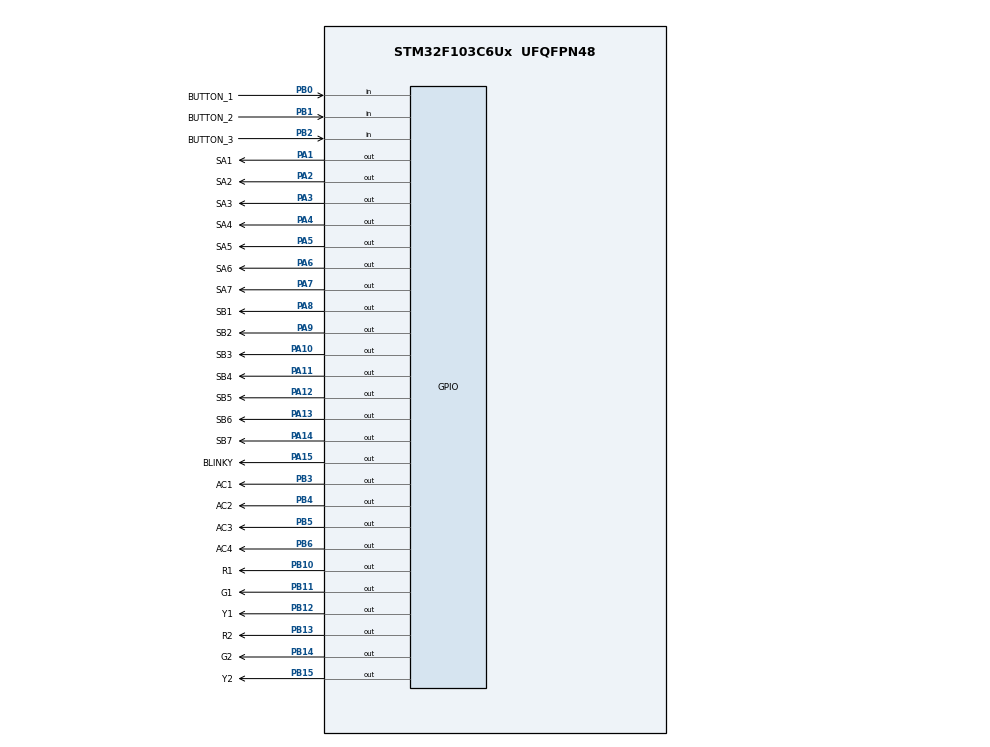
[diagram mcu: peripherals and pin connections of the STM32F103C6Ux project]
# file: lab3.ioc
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Mcu.Family=STM32F1
Mcu.Name=STM32F103C6Ux
Mcu.Package=UFQFPN48
NVIC.PriorityGroup=NVIC_PRIORITYGROUP_4
NVIC.TIM2_IRQn=true\:0\:0\:false\:false\:true\:true\:true
PA1.GPIO_Label=SA1
PA1.Signal=GPIO_Output
PA10.GPIO_Label=SB3
PA10.Signal=GPIO_Output
PA11.GPIO_Label=SB4
PA11.Signal=GPIO_Output
PA12.GPIO_Label=SB5
PA12.Signal=GPIO_Output
PA13.GPIO_Label=SB6
PA13.Signal=GPIO_Output
PA14.GPIO_Label=SB7
PA14.Signal=GPIO_Output
PA15.GPIO_Label=BLINKY
PA15.Signal=GPIO_Output
PA2.GPIO_Label=SA2
PA2.Signal=GPIO_Output
PA3.GPIO_Label=SA3
PA3.Signal=GPIO_Output
PA4.GPIO_Label=SA4
PA4.Signal=GPIO_Output
PA5.GPIO_Label=SA5
PA5.Signal=GPIO_Output
PA6.GPIO_Label=SA6
PA6.Signal=GPIO_Output
PA7.GPIO_Label=SA7
PA7.Signal=GPIO_Output
PA8.GPIO_Label=SB1
PA8.Signal=GPIO_Output
PA9.GPIO_Label=SB2
PA9.Signal=GPIO_Output
PB0.GPIO_Label=BUTTON_1
PB0.Signal=GPIO_Input
PB1.GPIO_Label=BUTTON_2
PB1.Signal=GPIO_Input
PB10.GPIO_Label=R1
PB10.Signal=GPIO_Output
PB11.GPIO_Label=G1
PB11.Signal=GPIO_Output
PB12.GPIO_Label=Y1
PB12.Signal=GPIO_Output
PB13.GPIO_Label=R2
PB13.Signal=GPIO_Output
PB14.GPIO_Label=G2
PB14.Signal=GPIO_Output
PB15.GPIO_Label=Y2
PB15.Signal=GPIO_Output
PB2.GPIO_Label=BUTTON_3
PB2.Signal=GPIO_Input
PB3.GPIO_Label=AC1
PB3.Signal=GPIO_Output
PB4.GPIO_Label=AC2
PB4.Signal=GPIO_Output
PB5.GPIO_Label=AC3
PB5.Signal=GPIO_Output
PB6.GPIO_Label=AC4
PB6.Signal=GPIO_Output
ProjectManager.HeapSize=0x200
ProjectManager.StackSize=0x400
ProjectManager.TargetToolchain=STM32CubeIDE
RCC.APB1Freq_Value=8000000
RCC.APB2Freq_Value=8000000
TIM2.Period=9
TIM2.Prescaler=7999
VP_SYS_VS_ND.Mode=No_Debug
VP_TIM2_VS_ClockSourceINT.Mode=Internal
board=custom

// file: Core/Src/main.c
/* USER CODE BEGIN Header */
/**
  ******************************************************************************
  * @file           : main.c
  * @brief          : Main program body
  ******************************************************************************
  * @attention
  *
  * <h2><center>&copy; Copyright (c) 2025 STMicroelectronics.
  * All rights reserved.</center></h2>
  *
  * This software component is licensed by ST under BSD 3-Clause license,
  * the "License"; You may not use this file except in compliance with the
  * License. You may obtain a copy of the License at:
  *                        opensource.org/licenses/BSD-3-Clause
  *
  ******************************************************************************
  */
/* USER CODE END Header */
#include "main.h"

/* USER CODE BEGIN Includes */
#include "scheduler.h"
#include "input_reading.h"
#include "input_processing.h"
/* USER CODE END Includes */

TIM_HandleTypeDef htim2;

/* USER CODE BEGIN PV */
int mode = 4;
int greenTime = 3;
int yellowTime = 2;
int redTime = 5;

int cooldown1;
int cooldown2;
int greenTemp;
int yellowTemp;
int redTemp;
int temp1;
int temp2;

int ledIndex = 0;
int timeSEG1[2] = {0, 0};
int timeSEG2[2] = {0, 0};
int toogleCount = 12;
/* USER CODE END PV */

void SystemClock_Config(void);
static void MX_GPIO_Init(void);
static void MX_TIM2_Init(void);
/* USER CODE BEGIN PFP */
void displayWhichSEG1(int index)
{
	switch (index)
	{
	case 0:
		HAL_GPIO_WritePin(GPIOB, GPIO_PIN_3, GPIO_PIN_RESET);
		HAL_GPIO_WritePin(GPIOB, GPIO_PIN_4, GPIO_PIN_SET);
		break;
	case 1:
		HAL_GPIO_WritePin(GPIOB, GPIO_PIN_3, GPIO_PIN_SET);
		HAL_GPIO_WritePin(GPIOB, GPIO_PIN_4, GPIO_PIN_RESET);
		break;
	default:
		break;
	}
}

void displayWhichSEG2(int index)
{
	switch (index)
	{
	case 0:
		HAL_GPIO_WritePin(GPIOB, GPIO_PIN_5, GPIO_PIN_RESET);
		HAL_GPIO_WritePin(GPIOB, GPIO_PIN_6, GPIO_PIN_SET);
		break;
	case 1:
		HAL_GPIO_WritePin(GPIOB, GPIO_PIN_5, GPIO_PIN_SET);
		HAL_GPIO_WritePin(GPIOB, GPIO_PIN_6, GPIO_PIN_RESET);
		break;
	default:
		break;
	}
}

void offLED()
{
    HAL_GPIO_WritePin(GPIOB, GPIO_PIN_10, GPIO_PIN_SET);
    HAL_GPIO_WritePin(GPIOB, GPIO_PIN_11, GPIO_PIN_SET);
    HAL_GPIO_WritePin(GPIOB, GPIO_PIN_12, GPIO_PIN_SET);
    HAL_GPIO_WritePin(GPIOB, GPIO_PIN_13, GPIO_PIN_SET);
    HAL_GPIO_WritePin(GPIOB, GPIO_PIN_14, GPIO_PIN_SET);
    HAL_GPIO_WritePin(GPIOB, GPIO_PIN_15, GPIO_PIN_SET);
}

void displayWhatSEG1(int time)
{
	timeSEG1[0] = time / 10;
	timeSEG1[1] = time % 10;
}

void displayWhatSEG2(int time)
{
	timeSEG2[0] = time / 10;
	timeSEG2[1] = time % 10;
}

void displaySEG1(int num)
{
    if (num == 1)
    {
        HAL_GPIO_WritePin(SA1_GPIO_Port, SA1_Pin, GPIO_PIN_SET);
        HAL_GPIO_WritePin(SA2_GPIO_Port, SA2_Pin, GPIO_PIN_RESET);
        HAL_GPIO_WritePin(SA3_GPIO_Port, SA3_Pin, GPIO_PIN_RESET);
        HAL_GPIO_WritePin(SA4_GPIO_Port, SA4_Pin, GPIO_PIN_SET);
        HAL_GPIO_WritePin(SA5_GPIO_Port, SA5_Pin, GPIO_PIN_SET);
        HAL_GPIO_WritePin(SA6_GPIO_Port, SA6_Pin, GPIO_PIN_SET);
        HAL_GPIO_WritePin(SA7_GPIO_Port, SA7_Pin, GPIO_PIN_SET);
        return;
    }
    if (num == 2)
    {
        HAL_GPIO_WritePin(SA1_GPIO_Port, SA1_Pin, GPIO_PIN_RESET);
        HAL_GPIO_WritePin(SA2_GPIO_Port, SA2_Pin, GPIO_PIN_RESET);
        HAL_GPIO_WritePin(SA3_GPIO_Port, SA3_Pin, GPIO_PIN_SET);
        HAL_GPIO_WritePin(SA4_GPIO_Port, SA4_Pin, GPIO_PIN_RESET);
        HAL_GPIO_WritePin(SA5_GPIO_Port, SA5_Pin, GPIO_PIN_RESET);
        HAL_GPIO_WritePin(SA6_GPIO_Port, SA6_Pin, GPIO_PIN_SET);
        HAL_GPIO_WritePin(SA7_GPIO_Port, SA7_Pin, GPIO_PIN_RESET);
        return;
    }
    if (num == 3)
    {
        HAL_GPIO_WritePin(SA1_GPIO_Port, SA1_Pin, GPIO_PIN_RESET);
        HAL_GPIO_WritePin(SA2_GPIO_Port, SA2_Pin, GPIO_PIN_RESET);
        HAL_GPIO_WritePin(SA3_GPIO_Port, SA3_Pin, GPIO_PIN_RESET);
        HAL_GPIO_WritePin(SA4_GPIO_Port, SA4_Pin, GPIO_PIN_RESET);
        HAL_GPIO_WritePin(SA5_GPIO_Port, SA5_Pin, GPIO_PIN_SET);
        HAL_GPIO_WritePin(SA6_GPIO_Port, SA6_Pin, GPIO_PIN_SET);
        HAL_GPIO_WritePin(SA7_GPIO_Port, SA7_Pin, GPIO_PIN_RESET);
        return;
    }
    if (num == 0)
    {
        HAL_GPIO_WritePin(SA1_GPIO_Port, SA1_Pin, GPIO_PIN_RESET);
        HAL_GPIO_WritePin(SA2_GPIO_Port, SA2_Pin, GPIO_PIN_RESET);
        HAL_GPIO_WritePin(SA3_GPIO_Port, SA3_Pin, GPIO_PIN_RESET);
        HAL_GPIO_WritePin(SA4_GPIO_Port, SA4_Pin, GPIO_PIN_RESET);
        HAL_GPIO_WritePin(SA5_GPIO_Port, SA5_Pin, GPIO_PIN_RESET);
        HAL_GPIO_WritePin(SA6_GPIO_Port, SA6_Pin, GPIO_PIN_RESET);
        HAL_GPIO_WritePin(SA7_GPIO_Port, SA7_Pin, GPIO_PIN_SET);
        return;
    }
    if (num == 4)
    {
        HAL_GPIO_WritePin(SA1_GPIO_Port, SA1_Pin, GPIO_PIN_SET);
        HAL_GPIO_WritePin(SA2_GPIO_Port, SA2_Pin, GPIO_PIN_RESET);
        HAL_GPIO_WritePin(SA3_GPIO_Port, SA3_Pin, GPIO_PIN_RESET);
        HAL_GPIO_WritePin(SA4_GPIO_Port, SA4_Pin, GPIO_PIN_SET);
        HAL_GPIO_WritePin(SA5_GPIO_Port, SA5_Pin, GPIO_PIN_SET);
        HAL_GPIO_WritePin(SA6_GPIO_Port, SA6_Pin, GPIO_PIN_RESET);
        HAL_GPIO_WritePin(SA7_GPIO_Port, SA7_Pin, GPIO_PIN_RESET);
        return;
    }
    if (num == 5)
    {
        HAL_GPIO_WritePin(SA1_GPIO_Port, SA1_Pin, GPIO_PIN_RESET);
        HAL_GPIO_WritePin(SA2_GPIO_Port, SA2_Pin, GPIO_PIN_SET);
        HAL_GPIO_WritePin(SA3_GPIO_Port, SA3_Pin, GPIO_PIN_RESET);
        HAL_GPIO_WritePin(SA4_GPIO_Port, SA4_Pin, GPIO_PIN_RESET);
        HAL_GPIO_WritePin(SA5_GPIO_Port, SA5_Pin, GPIO_PIN_SET);
        HAL_GPIO_WritePin(SA6_GPIO_Port, SA6_Pin, GPIO_PIN_RESET);
        HAL_GPIO_WritePin(SA7_GPIO_Port, SA7_Pin, GPIO_PIN_RESET);
        return;
    }
    if (num == 6)
    {
        HAL_GPIO_WritePin(SA1_GPIO_Port, SA1_Pin, GPIO_PIN_RESET);
        HAL_GPIO_WritePin(SA2_GPIO_Port, SA2_Pin, GPIO_PIN_SET);
        HAL_GPIO_WritePin(SA3_GPIO_Port, SA3_Pin, GPIO_PIN_RESET);
        HAL_GPIO_WritePin(SA4_GPIO_Port, SA4_Pin, GPIO_PIN_RESET);
        HAL_GPIO_WritePin(SA5_GPIO_Port, SA5_Pin, GPIO_PIN_RESET);
        HAL_GPIO_WritePin(SA6_GPIO_Port, SA6_Pin, GPIO_PIN_RESET);
        HAL_GPIO_WritePin(SA7_GPIO_Port, SA7_Pin, GPIO_PIN_RESET);
        return;
    }
    if (num == 7)
    {
        HAL_GPIO_WritePin(SA1_GPIO_Port, SA1_Pin, GPIO_PIN_RESET);
        HAL_GPIO_WritePin(SA2_GPIO_Port, SA2_Pin, GPIO_PIN_RESET);
        HAL_GPIO_WritePin(SA3_GPIO_Port, SA3_Pin, GPIO_PIN_RESET);
        HAL_GPIO_WritePin(SA4_GPIO_Port, SA4_Pin, GPIO_PIN_SET);
        HAL_GPIO_WritePin(SA5_GPIO_Port, SA5_Pin, GPIO_PIN_SET);
        HAL_GPIO_WritePin(SA6_GPIO_Port, SA6_Pin, GPIO_PIN_SET);
        HAL_GPIO_WritePin(SA7_GPIO_Port, SA7_Pin, GPIO_PIN_SET);
        return;
    }
    if (num == 8)
    {
        HAL_GPIO_WritePin(SA1_GPIO_Port, SA1_Pin, GPIO_PIN_RESET);
        HAL_GPIO_WritePin(SA2_GPIO_Port, SA2_Pin, GPIO_PIN_RESET);
        HAL_GPIO_WritePin(SA3_GPIO_Port, SA3_Pin, GPIO_PIN_RESET);
        HAL_GPIO_WritePin(SA4_GPIO_Port, SA4_Pin, GPIO_PIN_RESET);
        HAL_GPIO_WritePin(SA5_GPIO_Port, SA5_Pin, GPIO_PIN_RESET);
        HAL_GPIO_WritePin(SA6_GPIO_Port, SA6_Pin, GPIO_PIN_RESET);
        HAL_GPIO_WritePin(SA7_GPIO_Port, SA7_Pin, GPIO_PIN_RESET);
        return;
    }
    if (num == 9)
    {
        HAL_GPIO_WritePin(SA1_GPIO_Port, SA1_Pin, GPIO_PIN_RESET);
        HAL_GPIO_WritePin(SA2_GPIO_Port, SA2_Pin, GPIO_PIN_RESET);
        HAL_GPIO_WritePin(SA3_GPIO_Port, SA3_Pin, GPIO_PIN_RESET);
        HAL_GPIO_WritePin(SA4_GPIO_Port, SA4_Pin, GPIO_PIN_RESET);
        HAL_GPIO_WritePin(SA5_GPIO_Port, SA5_Pin, GPIO_PIN_SET);
        HAL_GPIO_WritePin(SA6_GPIO_Port, SA6_Pin, GPIO_PIN_RESET);
        HAL_GPIO_WritePin(SA7_GPIO_Port, SA7_Pin, GPIO_PIN_RESET);
        return;
    }
    if (num == 10)
    {
        HAL_GPIO_WritePin(SB1_GPIO_Port, SB1_Pin, GPIO_PIN_SET);
        HAL_GPIO_WritePin(SB2_GPIO_Port, SB2_Pin, GPIO_PIN_SET);
        HAL_GPIO_WritePin(SB3_GPIO_Port, SB3_Pin, GPIO_PIN_SET);
        HAL_GPIO_WritePin(SB4_GPIO_Port, SB4_Pin, GPIO_PIN_SET);
        HAL_GPIO_WritePin(SB5_GPIO_Port, SB5_Pin, GPIO_PIN_SET);
        HAL_GPIO_WritePin(SB6_GPIO_Port, SB6_Pin, GPIO_PIN_SET);
        HAL_GPIO_WritePin(SB7_GPIO_Port, SB7_Pin, GPIO_PIN_SET);
        return;
    }
}

void displaySEG2(int num)
{
    if (num == 1)
    {
        HAL_GPIO_WritePin(SB1_GPIO_Port, SB1_Pin, GPIO_PIN_SET);
        HAL_GPIO_WritePin(SB2_GPIO_Port, SB2_Pin, GPIO_PIN_RESET);
        HAL_GPIO_WritePin(SB3_GPIO_Port, SB3_Pin, GPIO_PIN_RESET);
        HAL_GPIO_WritePin(SB4_GPIO_Port, SB4_Pin, GPIO_PIN_SET);
        HAL_GPIO_WritePin(SB5_GPIO_Port, SB5_Pin, GPIO_PIN_SET);
        HAL_GPIO_WritePin(SB6_GPIO_Port, SB6_Pin, GPIO_PIN_SET);
        HAL_GPIO_WritePin(SB7_GPIO_Port, SB7_Pin, GPIO_PIN_SET);
        return;
    }
    if (num == 2)
    {
        HAL_GPIO_WritePin(SB1_GPIO_Port, SB1_Pin, GPIO_PIN_RESET);
        HAL_GPIO_WritePin(SB2_GPIO_Port, SB2_Pin, GPIO_PIN_RESET);
        HAL_GPIO_WritePin(SB3_GPIO_Port, SB3_Pin, GPIO_PIN_SET);
        HAL_GPIO_WritePin(SB4_GPIO_Port, SB4_Pin, GPIO_PIN_RESET);
        HAL_GPIO_WritePin(SB5_GPIO_Port, SB5_Pin, GPIO_PIN_RESET);
        HAL_GPIO_WritePin(SB6_GPIO_Port, SB6_Pin, GPIO_PIN_SET);
        HAL_GPIO_WritePin(SB7_GPIO_Port, SB7_Pin, GPIO_PIN_RESET);
        return;
    }
    if (num == 3)
    {
        HAL_GPIO_WritePin(SB1_GPIO_Port, SB1_Pin, GPIO_PIN_RESET);
        HAL_GPIO_WritePin(SB2_GPIO_Port, SB2_Pin, GPIO_PIN_RESET);
        HAL_GPIO_WritePin(SB3_GPIO_Port, SB3_Pin, GPIO_PIN_RESET);
        HAL_GPIO_WritePin(SB4_GPIO_Port, SB4_Pin, GPIO_PIN_RESET);
        HAL_GPIO_WritePin(SB5_GPIO_Port, SB5_Pin, GPIO_PIN_SET);
        HAL_GPIO_WritePin(SB6_GPIO_Port, SB6_Pin, GPIO_PIN_SET);
        HAL_GPIO_WritePin(SB7_GPIO_Port, SB7_Pin, GPIO_PIN_RESET);
        return;
    }
    if (num == 0)
    {
        HAL_GPIO_WritePin(SB1_GPIO_Port, SB1_Pin, GPIO_PIN_RESET);
        HAL_GPIO_WritePin(SB2_GPIO_Port, SB2_Pin, GPIO_PIN_RESET);
        HAL_GPIO_WritePin(SB3_GPIO_Port, SB3_Pin, GPIO_PIN_RESET);
        HAL_GPIO_WritePin(SB4_GPIO_Port, SB4_Pin, GPIO_PIN_RESET);
        HAL_GPIO_WritePin(SB5_GPIO_Port, SB5_Pin, GPIO_PIN_RESET);
        HAL_GPIO_WritePin(SB6_GPIO_Port, SB6_Pin, GPIO_PIN_RESET);
        HAL_GPIO_WritePin(SB7_GPIO_Port, SB7_Pin, GPIO_PIN_SET);
        return;
    }
    if (num == 4)
    {
        HAL_GPIO_WritePin(SB1_GPIO_Port, SB1_Pin, GPIO_PIN_SET);
        HAL_GPIO_WritePin(SB2_GPIO_Port, SB2_Pin, GPIO_PIN_RESET);
        HAL_GPIO_WritePin(SB3_GPIO_Port, SB3_Pin, GPIO_PIN_RESET);
        HAL_GPIO_WritePin(SB4_GPIO_Port, SB4_Pin, GPIO_PIN_SET);
        HAL_GPIO_WritePin(SB5_GPIO_Port, SB5_Pin, GPIO_PIN_SET);
        HAL_GPIO_WritePin(SB6_GPIO_Port, SB6_Pin, GPIO_PIN_RESET);
        HAL_GPIO_WritePin(SB7_GPIO_Port, SB7_Pin, GPIO_PIN_RESET);
        return;
    }
    if (num == 5)
    {
        HAL_GPIO_WritePin(SB1_GPIO_Port, SB1_Pin, GPIO_PIN_RESET);
        HAL_GPIO_WritePin(SB2_GPIO_Port, SB2_Pin, GPIO_PIN_SET);
        HAL_GPIO_WritePin(SB3_GPIO_Port, SB3_Pin, GPIO_PIN_RESET);
        HAL_GPIO_WritePin(SB4_GPIO_Port, SB4_Pin, GPIO_PIN_RESET);
        HAL_GPIO_WritePin(SB5_GPIO_Port, SB5_Pin, GPIO_PIN_SET);
        HAL_GPIO_WritePin(SB6_GPIO_Port, SB6_Pin, GPIO_PIN_RESET);
        HAL_GPIO_WritePin(SB7_GPIO_Port, SB7_Pin, GPIO_PIN_RESET);
        return;
    }
    if (num == 6)
    {
        HAL_GPIO_WritePin(SB1_GPIO_Port, SB1_Pin, GPIO_PIN_RESET);
        HAL_GPIO_WritePin(SB2_GPIO_Port, SB2_Pin, GPIO_PIN_SET);
        HAL_GPIO_WritePin(SB3_GPIO_Port, SB3_Pin, GPIO_PIN_RESET);
        HAL_GPIO_WritePin(SB4_GPIO_Port, SB4_Pin, GPIO_PIN_RESET);
        HAL_GPIO_WritePin(SB5_GPIO_Port, SB5_Pin, GPIO_PIN_RESET);
        HAL_GPIO_WritePin(SB6_GPIO_Port, SB6_Pin, GPIO_PIN_RESET);
        HAL_GPIO_WritePin(SB7_GPIO_Port, SB7_Pin, GPIO_PIN_RESET);
        return;
    }
    if (num == 7)
    {
        HAL_GPIO_WritePin(SB1_GPIO_Port, SB1_Pin, GPIO_PIN_RESET);
        HAL_GPIO_WritePin(SB2_GPIO_Port, SB2_Pin, GPIO_PIN_RESET);
        HAL_GPIO_WritePin(SB3_GPIO_Port, SB3_Pin, GPIO_PIN_RESET);
        HAL_GPIO_WritePin(SB4_GPIO_Port, SB4_Pin, GPIO_PIN_SET);
        HAL_GPIO_WritePin(SB5_GPIO_Port, SB5_Pin, GPIO_PIN_SET);
        HAL_GPIO_WritePin(SB6_GPIO_Port, SB6_Pin, GPIO_PIN_SET);
        HAL_GPIO_WritePin(SB7_GPIO_Port, SB7_Pin, GPIO_PIN_SET);
        return;
    }
    if (num == 8)
    {
        HAL_GPIO_WritePin(SB1_GPIO_Port, SB1_Pin, GPIO_PIN_RESET);
        HAL_GPIO_WritePin(SB2_GPIO_Port, SB2_Pin, GPIO_PIN_RESET);
        HAL_GPIO_WritePin(SB3_GPIO_Port, SB3_Pin, GPIO_PIN_RESET);
        HAL_GPIO_WritePin(SB4_GPIO_Port, SB4_Pin, GPIO_PIN_RESET);
        HAL_GPIO_WritePin(SB5_GPIO_Port, SB5_Pin, GPIO_PIN_RESET);
        HAL_GPIO_WritePin(SB6_GPIO_Port, SB6_Pin, GPIO_PIN_RESET);
        HAL_GPIO_WritePin(SB7_GPIO_Port, SB7_Pin, GPIO_PIN_RESET);
        return;
    }
    if (num == 9)
    {
        HAL_GPIO_WritePin(SB1_GPIO_Port, SB1_Pin, GPIO_PIN_RESET);
        HAL_GPIO_WritePin(SB2_GPIO_Port, SB2_Pin, GPIO_PIN_RESET);
        HAL_GPIO_WritePin(SB3_GPIO_Port, SB3_Pin, GPIO_PIN_RESET);
        HAL_GPIO_WritePin(SB4_GPIO_Port, SB4_Pin, GPIO_PIN_RESET);
        HAL_GPIO_WritePin(SB5_GPIO_Port, SB5_Pin, GPIO_PIN_SET);
        HAL_GPIO_WritePin(SB6_GPIO_Port, SB6_Pin, GPIO_PIN_RESET);
        HAL_GPIO_WritePin(SB7_GPIO_Port, SB7_Pin, GPIO_PIN_RESET);
        return;
    }
    if (num == 10)
    {
        HAL_GPIO_WritePin(SB1_GPIO_Port, SB1_Pin, GPIO_PIN_SET);
        HAL_GPIO_WritePin(SB2_GPIO_Port, SB2_Pin, GPIO_PIN_SET);
        HAL_GPIO_WritePin(SB3_GPIO_Port, SB3_Pin, GPIO_PIN_SET);
        HAL_GPIO_WritePin(SB4_GPIO_Port, SB4_Pin, GPIO_PIN_SET);
        HAL_GPIO_WritePin(SB5_GPIO_Port, SB5_Pin, GPIO_PIN_SET);
        HAL_GPIO_WritePin(SB6_GPIO_Port, SB6_Pin, GPIO_PIN_SET);
        HAL_GPIO_WritePin(SB7_GPIO_Port, SB7_Pin, GPIO_PIN_SET);
        return;
    }
}

void Task_Input_Handler(void)
{
	button_reading();
	fsm_for_input_processing();
}

/* USER CODE END PFP */

int main(void)
{

  /* MCU Configuration--------------------------------------------------------*/

  /* Reset of all peripherals, Initializes the Flash interface and the Systick. */
  HAL_Init();

  /* Configure the system clock */
  SystemClock_Config();

  /* Initialize all configured peripherals */
  MX_GPIO_Init();
  MX_TIM2_Init();
  /* USER CODE BEGIN 2 */
  SCH_Init();

  SCH_Add_Task(Task_Input_Handler, 1, 1);
  SCH_Add_Task(fsm_for_1s_logic, 100, 100);
  SCH_Add_Task(fsm_for_display_logic, 4, 4);

  HAL_TIM_Base_Start_IT (& htim2 );

  cooldown1 = greenTime + yellowTime + redTime;
  cooldown2 = cooldown1;

  greenTemp = greenTime;
  redTemp = redTime;
  yellowTemp = yellowTime;

  temp1 = greenTime - 1;
  temp2 = redTime - 1;
  redTime = greenTime + yellowTime;

  /* USER CODE END 2 */

  /* Infinite loop */
  while (1)
  {

    /* USER CODE BEGIN 3 */
	  SCH_Dispatch_Tasks();
  }
  /* USER CODE END 3 */
}

void SystemClock_Config(void)
{
  RCC_OscInitTypeDef RCC_OscInitStruct = {0};
  RCC_ClkInitTypeDef RCC_ClkInitStruct = {0};

  /** Initializes the RCC Oscillators according to the specified parameters
  * in the RCC_OscInitTypeDef structure.
  */
  RCC_OscInitStruct.OscillatorType = RCC_OSCILLATORTYPE_HSI;
  RCC_OscInitStruct.HSIState = RCC_HSI_ON;
  RCC_OscInitStruct.HSICalibrationValue = RCC_HSICALIBRATION_DEFAULT;
  RCC_OscInitStruct.PLL.PLLState = RCC_PLL_NONE;
  if (HAL_RCC_OscConfig(&RCC_OscInitStruct) != HAL_OK)
  {
    Error_Handler();
  }
  /** Initializes the CPU, AHB and APB buses clocks
  */
  RCC_ClkInitStruct.ClockType = RCC_CLOCKTYPE_HCLK|RCC_CLOCKTYPE_SYSCLK
                              |RCC_CLOCKTYPE_PCLK1|RCC_CLOCKTYPE_PCLK2;
  RCC_ClkInitStruct.SYSCLKSource = RCC_SYSCLKSOURCE_HSI;
  RCC_ClkInitStruct.AHBCLKDivider = RCC_SYSCLK_DIV1;
  RCC_ClkInitStruct.APB1CLKDivider = RCC_HCLK_DIV1;
  RCC_ClkInitStruct.APB2CLKDivider = RCC_HCLK_DIV1;

  if (HAL_RCC_ClockConfig(&RCC_ClkInitStruct, FLASH_LATENCY_0) != HAL_OK)
  {
    Error_Handler();
  }
}

static void MX_TIM2_Init(void)
{

  TIM_ClockConfigTypeDef sClockSourceConfig = {0};
  TIM_MasterConfigTypeDef sMasterConfig = {0};

  htim2.Instance = TIM2;
  htim2.Init.Prescaler = 7999;
  htim2.Init.CounterMode = TIM_COUNTERMODE_UP;
  htim2.Init.Period = 9;
  htim2.Init.ClockDivision = TIM_CLOCKDIVISION_DIV1;
  htim2.Init.AutoReloadPreload = TIM_AUTORELOAD_PRELOAD_DISABLE;
  if (HAL_TIM_Base_Init(&htim2) != HAL_OK)
  {
    Error_Handler();
  }
  sClockSourceConfig.ClockSource = TIM_CLOCKSOURCE_INTERNAL;
  if (HAL_TIM_ConfigClockSource(&htim2, &sClockSourceConfig) != HAL_OK)
  {
    Error_Handler();
  }
  sMasterConfig.MasterOutputTrigger = TIM_TRGO_RESET;
  sMasterConfig.MasterSlaveMode = TIM_MASTERSLAVEMODE_DISABLE;
  if (HAL_TIMEx_MasterConfigSynchronization(&htim2, &sMasterConfig) != HAL_OK)
  {
    Error_Handler();
  }

}

static void MX_GPIO_Init(void)
{
  GPIO_InitTypeDef GPIO_InitStruct = {0};

  /* GPIO Ports Clock Enable */
  __HAL_RCC_GPIOA_CLK_ENABLE();
  __HAL_RCC_GPIOB_CLK_ENABLE();

  /*Configure GPIO pin Output Level */
  HAL_GPIO_WritePin(GPIOA, SA1_Pin|SA2_Pin|SA3_Pin|SA4_Pin
                          |SA5_Pin|SA6_Pin|SA7_Pin|SB1_Pin
                          |SB2_Pin|SB3_Pin|SB4_Pin|SB5_Pin
                          |SB6_Pin|SB7_Pin|BLINKY_Pin, GPIO_PIN_RESET);

  /*Configure GPIO pin Output Level */
  HAL_GPIO_WritePin(GPIOB, R1_Pin|G1_Pin|Y1_Pin|R2_Pin
                          |G2_Pin|Y2_Pin|AC1_Pin|AC2_Pin
                          |AC3_Pin|AC4_Pin, GPIO_PIN_RESET);

  /*Configure GPIO pins : SA1_Pin SA2_Pin SA3_Pin SA4_Pin
                           SA5_Pin SA6_Pin SA7_Pin SB1_Pin
                           SB2_Pin SB3_Pin SB4_Pin SB5_Pin
                           SB6_Pin SB7_Pin BLINKY_Pin */
  GPIO_InitStruct.Pin = SA1_Pin|SA2_Pin|SA3_Pin|SA4_Pin
                          |SA5_Pin|SA6_Pin|SA7_Pin|SB1_Pin
                          |SB2_Pin|SB3_Pin|SB4_Pin|SB5_Pin
                          |SB6_Pin|SB7_Pin|BLINKY_Pin;
  GPIO_InitStruct.Mode = GPIO_MODE_OUTPUT_PP;
  GPIO_InitStruct.Pull = GPIO_NOPULL;
  GPIO_InitStruct.Speed = GPIO_SPEED_FREQ_LOW;
  HAL_GPIO_Init(GPIOA, &GPIO_InitStruct);

  /*Configure GPIO pins : BUTTON_1_Pin BUTTON_2_Pin BUTTON_3_Pin */
  GPIO_InitStruct.Pin = BUTTON_1_Pin|BUTTON_2_Pin|BUTTON_3_Pin;
  GPIO_InitStruct.Mode = GPIO_MODE_INPUT;
  GPIO_InitStruct.Pull = GPIO_NOPULL;
  HAL_GPIO_Init(GPIOB, &GPIO_InitStruct);

  /*Configure GPIO pins : R1_Pin G1_Pin Y1_Pin R2_Pin
                           G2_Pin Y2_Pin AC1_Pin AC2_Pin
                           AC3_Pin AC4_Pin */
  GPIO_InitStruct.Pin = R1_Pin|G1_Pin|Y1_Pin|R2_Pin
                          |G2_Pin|Y2_Pin|AC1_Pin|AC2_Pin
                          |AC3_Pin|AC4_Pin;
  GPIO_InitStruct.Mode = GPIO_MODE_OUTPUT_PP;
  GPIO_InitStruct.Pull = GPIO_NOPULL;
  GPIO_InitStruct.Speed = GPIO_SPEED_FREQ_LOW;
  HAL_GPIO_Init(GPIOB, &GPIO_InitStruct);

}

/* USER CODE BEGIN 4 */
void HAL_TIM_PeriodElapsedCallback(TIM_HandleTypeDef *htim)
{
    if (htim->Instance == TIM2)
    {
        SCH_Update();
    }
}
/* USER CODE END 4 */

void Error_Handler(void)
{
  __disable_irq();
  while (1)
  {
  }
}

/************************ (C) COPYRIGHT STMicroelectronics *****END OF FILE****/
